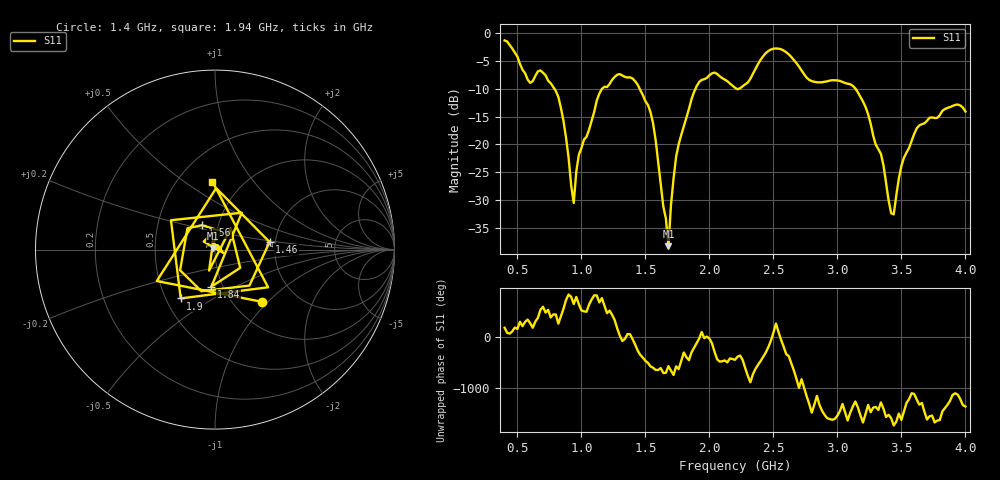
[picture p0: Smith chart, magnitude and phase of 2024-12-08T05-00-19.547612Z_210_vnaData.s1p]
!Created with skrf (http://scikit-rf.org).
# Hz S RI R 50.0
!freq ReS11 ImS11
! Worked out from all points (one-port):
!   181 points, 400 MHz to 4 GHz, reference 50 ohm
!   lowest |S11| = -38.3 dB at 1.68 GHz (marker M1), VSWR 1.02, Z = 49 + j0.62 ohm
!   |S11| at or under -10 dB: 788.6 MHz to 1.162 GHz (373.2 MHz wide, 38.3 % of centre); 1.455 GHz to 1.892 GHz (437 MHz wide, 26.1 % of centre); 3.141 GHz to end of sweep (the widest 3 of 4)
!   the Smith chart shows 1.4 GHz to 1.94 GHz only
!   S11 on the Smith chart (normalised r, x): 1.4 GHz: 1.34, -0.92; 1.46 GHz: 1.86, +0.17; 1.56 GHz: 0.83, +0.23; 1.84 GHz: 0.88, -0.38; 1.9 GHz: 0.60, -0.36; 1.94 GHz: 0.73, +0.65
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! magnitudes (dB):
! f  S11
! 400 MHz  -1.3
! 600 MHz  -9.0
! 720 MHz  -7.6
! 860 MHz  -15.8
! 940 MHz  -30.5
! 980 MHz  -21.9
! 1.12 GHz  -12.1
! 1.3 GHz  -7.4
! 1.4 GHz  -8.2
! 1.46 GHz  -10.3
! 1.56 GHz  -16.3
! 1.68 GHz  -38.3
! 1.72 GHz  -26.1
! 1.76 GHz  -20.0
! 1.84 GHz  -13.7
! 1.9 GHz  -9.6
! 1.94 GHz  -8.4
! 2.2 GHz  -9.8
! 2.48 GHz  -3.0
! 2.66 GHz  -4.8
! 2.8 GHz  -8.6
! 3.1 GHz  -9.2
! 3.22 GHz  -13.3
! 3.34 GHz  -21.7
! 3.42 GHz  -32.4
! 3.56 GHz  -20.6
! 3.72 GHz  -15.2
! 4 GHz  -14.1
